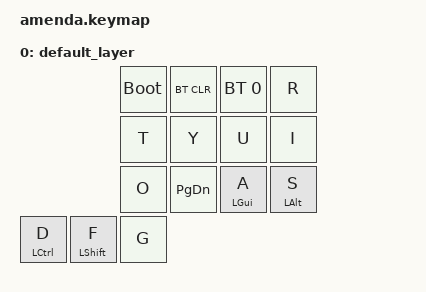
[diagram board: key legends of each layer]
//#undef ZMK_BEHAVIORS_KEEP_ALL

#include <behaviors.dtsi>
#include <dt-bindings/zmk/keys.h>
#include <dt-bindings/zmk/bt.h>

#define NAV_L 1
#define OTHER_L 2
#define NUM_L 3
#define SYM_L 4

// Using layer taps on thumbs, having quick tap as well helps w/ repeating space/backspace
&lt { quick-tap-ms = <200>; };
////////////////////////////////////////////////////////////////////////voir le vidéo à 8min 30 sec pour le mapping
/ {
    behaviors {
        hm: homerow_mods {
            compatible = "zmk,behavior-hold-tap";
            #binding-cells = <2>;
            tapping-term-ms = <200>;
            flavor = "tap-preferred";
            bindings = <&kp>, <&kp>;
        };
    };

    keymap {
        compatible = "zmk,keymap";

        default_layer {
            bindings = <
                                                        &bootloader     &bt BT_CLR      &bt BT_SEL 0    &kp R          
                                                        &kp T           &kp Y           &kp U           &kp I       
                                                        &kp O           &kp PG_DN       &hm LGUI A      &hm LALT S      
                &hm LCTRL D     &hm LSHFT F     &kp G         
                
                
                // &kp H            &hm RSHFT J    &hm RCTRL K &hm LALT L &hm LGUI SQT
                //&kp Z      &kp X      &kp C       &kp V          &kp B         &kp N            &kp M          &kp COMMA   &kp DOT    &kp FSLH
                                                  //&lt NAV_L TAB  &kp ENTER     &lt NUM_L SPACE  &lt SYM_L BSPC
            >;
        };
//        nav_layer {
//
//            bindings = <
//                &trans     &trans     &trans      &trans          &trans       &trans           &trans         &trans      &trans     &trans
//                &trans     &trans     &trans      &trans          &trans       &trans           &kp LEFT       &kp DOWN    &kp UP   &kp RIGHT
//                &trans     &trans     &trans      &trans          &trans       &trans           &kp HOME       &kp PG_DN   &kp PG_UP  &kp END
//                                                  &trans          &trans       &kp ESC          &kp DEL
//            >;
//        };
//
//        other_layer {
//            bindings = <
//                &trans     &trans     &trans      &trans          &trans       &trans           &trans         &trans      &trans     &trans
//                &trans     &trans     &trans      &trans          &trans       &trans           &trans         &trans      &trans     &trans
//                &trans     &trans     &trans      &trans          &trans       &trans           &kp HOME       &trans      &trans     &trans
//                                                  &trans          &trans       &trans           &trans
//            >;
//        };
//
//        num_layer {
//            bindings = <
//                &kp LBKT   &kp N7     &kp N8      &kp N9          &kp RBKT      &trans          &trans         &trans      &trans     &trans
//                &kp SEMI   &kp N4     &kp N5      &kp N6          &kp EQUAL     &trans          &trans         &trans      &trans     &trans
//                &kp GRAVE  &kp N1     &kp N2      &kp N3          &kp BSLH      &trans          &trans         &trans      &trans     &trans
//                                                  &kp N0          &kp MINUS     &trans          &trans
//            >;
//        };
//        sym_layer {
//
//            bindings = <
//                &kp LBRC     &kp LS(N7)  &kp LS(N8)  &kp LS(N9) &kp RBRC       &trans &trans   &trans    &trans    &trans
//                &kp COLON     &kp LS(N4)  &kp LS(N5)  &kp LS(N6) &kp PLUS       &trans &trans   &trans    &trans    &trans
//                &kp TILDE     &kp LS(N1)  &kp LS(N2)  &kp LS(N3) &kp LS(BSLH)       &trans &trans   &trans    &trans    &trans
//                                                   &kp LS(N0) &kp UNDER   &trans &trans
//            >;
//        };
    };
};
